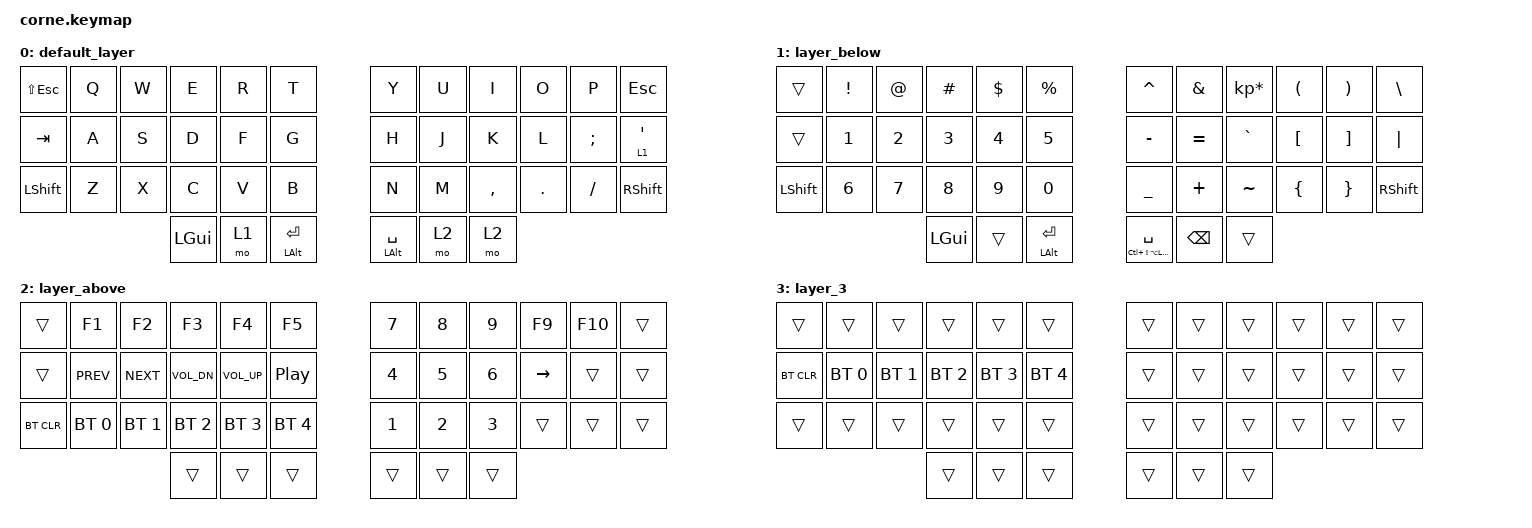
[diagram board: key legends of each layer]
/*
 * Copyright (c) 2020 The ZMK Contributors
 *
 * SPDX-License-Identifier: MIT
 */

#include <behaviors.dtsi>
#include <dt-bindings/zmk/bt.h>
#include <dt-bindings/zmk/keys.h>

/ {
    behaviors {
        tp: tap_preferred {
            compatible = "zmk,behavior-hold-tap";
            label = "TAP_PREFERRED";
            #binding-cells = <2>;
            tapping-term-ms = <150>;
            quick-tap-ms = <0>;
            flavor = "tap-preferred";
            bindings = <&kp>, <&kp>;
        };
    };

    keymap {
        compatible = "zmk,keymap";

        default_layer {
            // -----------------------------------------------------------------------------------------
            // | TAB  |  Q  |  W  |  E  |  R  |    T    |   |  Y  |  U   |  I  |  O  |  P  | ESC |
            // | CTRL |  A  |  S  |  D  |  F  |    G    |   |  H  |  J   |  K  |  L  |  ;  |  LWR/'   |
            // | SHFT |  Z  |  X  |  C  |  V  |    B    |   |  N  |  M   |  ,  |  .  |  /  | SHFT |
            //                    | GUI | LWR | ALT/ENT |   | HYPER/SPC | BKSP  | RSE |

            bindings = <
&kp LS(ESCAPE)  &kp Q  &kp W  &kp E     &kp R  &kp T           &kp Y               &kp U  &kp I      &kp O    &kp P     &kp ESC
&kp TAB         &kp A  &kp S  &kp D     &kp F  &kp G           &kp H               &kp J  &kp K      &kp L    &kp SEMI  &lt 1 SQT
&kp LSHFT       &kp Z  &kp X  &kp C     &kp V  &kp B           &kp N               &kp M  &kp COMMA  &kp DOT  &kp FSLH  &kp RSHFT
                              &kp LGUI  &mo 1  &tp LALT RET    &tp LEFT_ALT SPACE  &mo 2  &mo 2
            >;
        };

        layer_below {
            // -----------------------------------------------------------------------------------------
            // |      |  !  |  @  |  #  |  $  |    %     |   |  ^  |  &  |  *  |  (  |  )  |   \   |
            // |      |  1  |  2  |  3  |  4  |    5     |   |  -  |  =  |  `  |  [  |  ]  |  "|"  |
            // | SHFT |  6  |  7  |  8  |  9  |    0     |   |  _  |  +  |  ~  |  {  |  }  | RSHFT |
            //                     | GUI |     | ALT/ENT |   | HYPER/SPACE | BKSP |    |

            bindings = <
&trans     &kp EXCL  &kp AT  &kp HASH  &kp DLLR  &kp PRCNT       &kp CARET                   &kp AMPS   &kp KP_MULTIPLY  &kp LPAR  &kp RPAR  &kp BSLH
&trans     &kp N1    &kp N2  &kp N3    &kp N4    &kp N5          &kp MINUS                   &kp EQUAL  &kp GRAVE        &kp LBKT  &kp RBKT  &kp PIPE
&kp LSHFT  &kp N6    &kp N7  &kp N8    &kp N9    &kp N0          &kp UNDER                   &kp PLUS   &kp TILDE        &kp LBRC  &kp RBRC  &kp RSHFT
                             &kp LGUI  &trans    &tp LALT RET    &tp LC(LS(LA(LGUI))) SPACE  &kp BSPC   &trans
            >;
        };

        layer_above {
            // -----------------------------------------------------------------------------------------
            // |       |  F1  |  F2  |  F3  |  F4  |  F5 |            |  F6  |  F7  |  F8  |  F9  |  F10  |   |
            // |       | Prev | Next | Vol - | Vol + | Play/Pause |   |      | LFT | DWN |  UP | RGT |     |     |
            // | BTCLR | BT1 | BT2 | BT3 | BT4 | BT5 |   |            |     |     |     |     |     |     |
            //                    |     |     |    |                  |     |     |     |

            bindings = <
&trans      &kp F1        &kp F2        &kp F3        &kp F4        &kp F5          &kp N7        &kp N8        &kp N9        &kp F9     &kp F10  &trans
&trans      &kp C_PREV    &kp C_NEXT    &kp C_VOL_DN  &kp C_VOL_UP  &kp C_PP        &kp NUMBER_4  &kp N5        &kp NUMBER_6  &kp RIGHT  &trans   &trans
&bt BT_CLR  &bt BT_SEL 0  &bt BT_SEL 1  &bt BT_SEL 2  &bt BT_SEL 3  &bt BT_SEL 4    &kp NUMBER_1  &kp NUMBER_2  &kp NUMBER_3  &trans     &trans   &trans
                                        &trans        &trans        &trans          &trans        &trans        &trans
            >;
        };

        layer_3 {
            bindings = <
&trans      &trans        &trans        &trans        &trans        &trans          &trans  &trans  &trans  &trans  &trans  &trans
&bt BT_CLR  &bt BT_SEL 0  &bt BT_SEL 1  &bt BT_SEL 2  &bt BT_SEL 3  &bt BT_SEL 4    &trans  &trans  &trans  &trans  &trans  &trans
&trans      &trans        &trans        &trans        &trans        &trans          &trans  &trans  &trans  &trans  &trans  &trans
                                        &trans        &trans        &trans          &trans  &trans  &trans
            >;
        };
    };
};
